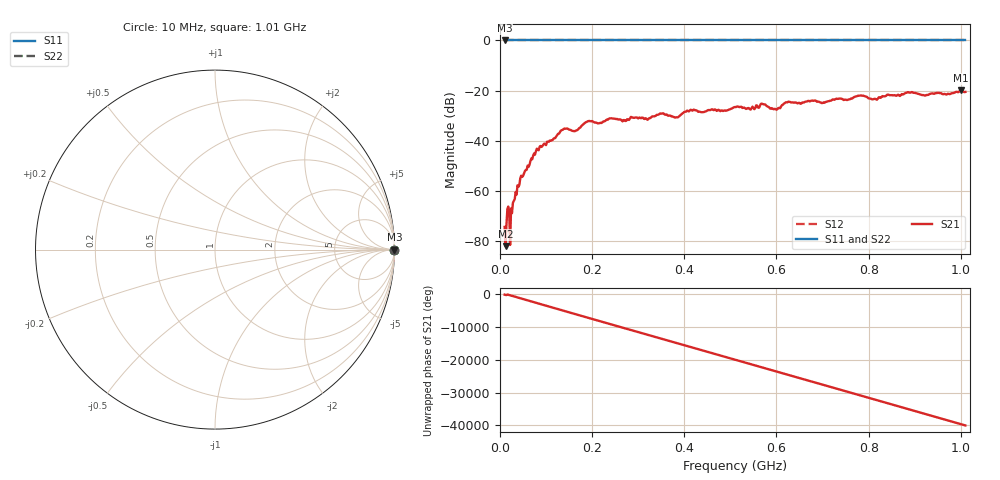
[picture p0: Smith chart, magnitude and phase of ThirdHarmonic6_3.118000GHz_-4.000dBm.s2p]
! 8/17/2025 9:14:40 AM
! C:\ANRITSUVNA\TEMP\TEMP.S2P
! CHANNEL.1
! TR.MEASUREMENT
! RAW.DATA
! RF.CORRECTION.OFF
! AVERAGING.OFF
! IF.BANDWIDTH: 5KHZ
! SWEEPTYPE:  FREQ.SWEEP(Linear)
! Reference Plane Port Info
! PORT:  PORT1  PORT2
! DISTANCE:  0  m  0  m
! TIME:  0  s  0  s
! PHASE.OFFSET:  0  deg.  0  deg.
! LOSS:  0  dB  0  dB
! REF.LOSS:  0  dB  0  dB
! REF.FREQ:  0  Hz  0  Hz
! Power Info
! POWER:  -20  dBm  -20  dBm
! EFF.POWER:  -20  dBm  -20  dBm
! SOURCE.ATTEN:  0  dB  0  dB
! TEST.ATTEN:  0  dB  0  dB
# GHZ S RI R 50.0
! FREQ.GHZ  S11RE  S11IM  S21RE  S21IM  S12RE  S12IM  S22RE  S22IM
!; PortSelection: Port_12
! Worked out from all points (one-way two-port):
!   501 points, 10 MHz to 1.01 GHz, reference 50 ohm
!   highest |S21| = -19.91 dB at 1 GHz (marker M1); lowest = -82.0 dB at 12 MHz (marker M2)
!   lowest |S11| = 0.0 dB at 10 MHz (marker M3)
!   |S11| at or under -10 dB: nowhere
!   |S22| runs from 0.0 to 0.0 dB; largest |S21 - S12| = 1.1
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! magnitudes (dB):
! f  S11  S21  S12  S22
! 10 MHz  0.0  -74.3  0.0  0.0
! 12 MHz  0.0  -82.0  0.0  0.0
! 16 MHz  0.0  -67.2  0.0  0.0
! 26 MHz  0.0  -68.9  0.0  0.0
! 28 MHz  0.0  -64.8  0.0  0.0
! 42 MHz  0.0  -57.6  0.0  0.0
! 76 MHz  0.0  -45.5  0.0  0.0
! 136 MHz  0.0  -35.6  0.0  0.0
! 164 MHz  0.0  -36.0  0.0  0.0
! 178 MHz  0.0  -33.9  0.0  0.0
! 194 MHz  0.0  -32.1  0.0  0.0
! 344 MHz  0.0  -29.6  0.0  0.0
! 382 MHz  0.0  -30.6  0.0  0.0
! 410 MHz  0.0  -28.3  0.0  0.0
! 510 MHz  0.0  -26.5  0.0  0.0
! 570 MHz  0.0  -25.3  0.0  0.0
! 598 MHz  0.0  -27.4  0.0  0.0
! 624 MHz  0.0  -24.6  0.0  0.0
! 678 MHz  0.0  -24.0  0.0  0.0
! 844 MHz  0.0  -21.7  0.0  0.0
! 1 GHz  0.0  -19.9  0.0  0.0
! 1.01 GHz  0.0  -20.5  0.0  0.0
